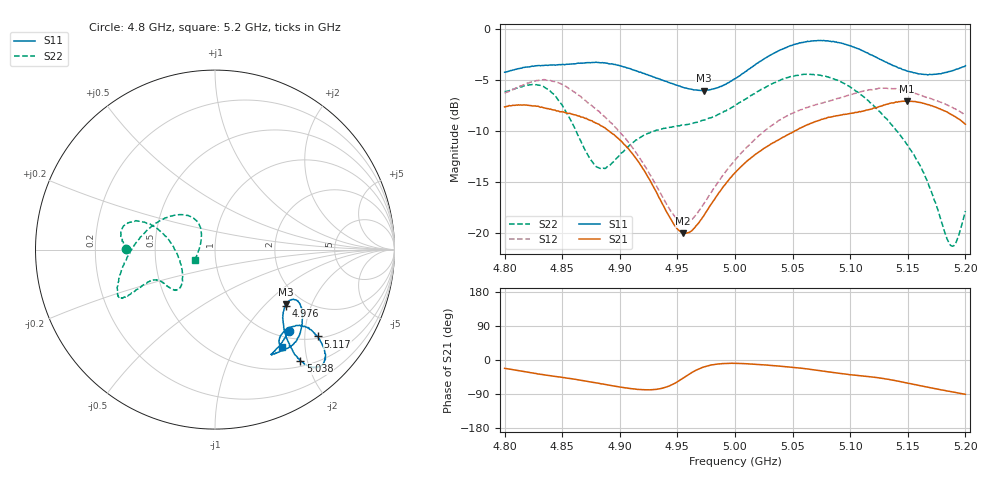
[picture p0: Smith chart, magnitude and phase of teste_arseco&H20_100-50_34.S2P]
! Network Analyzer HP8722D
! Hewlett-Packard
! Data name: Linha & Wilkinson
! Saver's name: Rodrigo Anjos
! Comments: Teste da utilização de aquisição
! continua pelo VNA HP8722D
! Time and date: 6/5/2025 12:51
!  Frequency  S11  S21  S12  S22
# HZ  S  MA R 50
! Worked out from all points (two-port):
!   401 points, 4.8 GHz to 5.2 GHz, reference 50 ohm
!   highest |S21| = -7.09 dB at 5.149 GHz (marker M1); lowest = -20.1 dB at 4.955 GHz (marker M2)
!   |S21| within 3 dB of the highest: start of sweep to 4.891 GHz; 5.051 GHz to end of sweep
!   lowest |S11| = -6.0 dB at 4.973 GHz (marker M3), VSWR 2.99, Z = 82.3 - j66.3 ohm
!   |S11| at or under -10 dB: nowhere
!   |S22| runs from -21.3 to -4.5 dB; largest |S21 - S12| = 0.95
!   S11 on the Smith chart (normalised r, x): 4.8 GHz: 1.13, -1.64; 4.976 GHz: 1.61, -1.34; 5.038 GHz: 0.59, -1.88; 5.117 GHz: 1.05, -2.32; 5.2 GHz: 0.82, -1.57
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4.8e9  0.613 -47.8  0.4145 -22.1  0.4838 -175.9  0.4933 179.9
4.822e9  0.6519 -58.8  0.4205 -33.2  0.5466 176.1  0.5323 170.5
4.837e9  0.6626 -61.8  0.4063 -40.4  0.5594 167.5  0.5075 162.8
4.851e9  0.6694 -59.9  0.3916 -46.5  0.5307 158.6  0.4125 158.8
4.867e9  0.6802 -55.0  0.3692 -53.9  0.4595 150.7  0.2746 166.4
4.886e9  0.6813 -48.6  0.329 -63.8  0.3743 144.1  0.2074 -158.7
4.908e9  0.6398 -40.9  0.2562 -74.9  0.275 138.1  0.2667 -134.0
4.934e9  0.569 -33.2  0.1487 -76.4  0.1612 141.2  0.3205 -135.4
4.955e9  0.5165 -32.4  0.09931 -47.8  0.1117 170.6  0.337 -144.5
4.973e9  0.4986 -37.4  0.1212 -18.3  0.1389 -160.0  0.3566 -151.4
4.976e9  0.502 -38.4  0.129 -15.6  0.1472 -157.2  0.3613 -151.9
5e9  0.5698 -47.9  0.1969 -8.9  0.227 -146.8  0.4218 -154.0
5.038e9  0.7814 -52.5  0.2859 -16.0  0.3557 -147.8  0.5573 -152.1
5.067e9  0.8732 -48.4  0.3461 -25.3  0.42 -154.5  0.5974 -155.2
5.094e9  0.8472 -43.4  0.3807 -36.6  0.4639 -162.0  0.5427 -165.8
5.117e9  0.7498 -40.2  0.4025 -44.2  0.5026 -172.5  0.436 174.1
5.134e9  0.6759 -40.2  0.4306 -51.6  0.5106 177.3  0.349 152.9
5.149e9  0.6218 -42.8  0.4422 -60.6  0.4954 168.8  0.272 134.3
5.165e9  0.5981 -48.0  0.4294 -70.5  0.464 161.4  0.1892 122.5
5.187e9  0.62 -55.0  0.3824 -83.3  0.4168 153.7  0.0868 158.1
5.192e9  0.6338 -55.6  0.3678 -86.1  0.4021 152.1  0.08991 -178.9
5.2e9  0.6595 -55.7  0.3407 -90.5  0.3773 149.3  0.1277 -152.6
